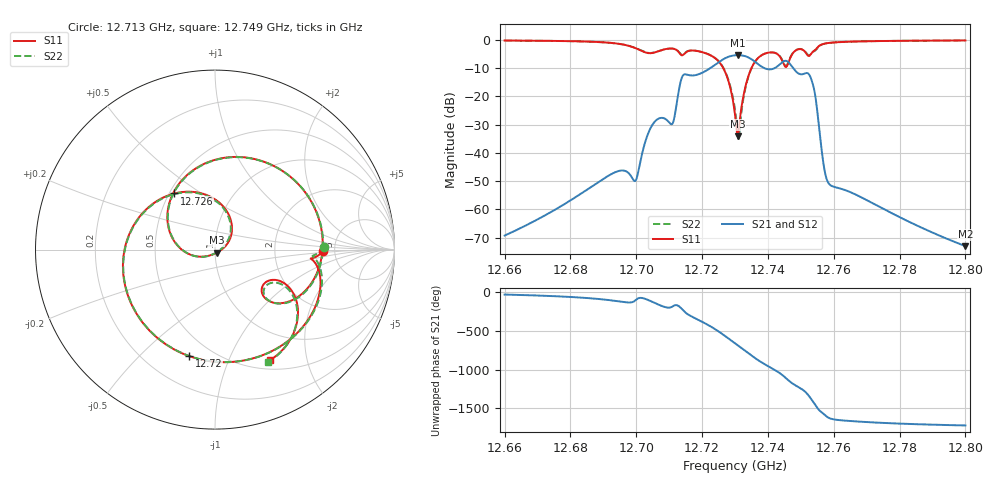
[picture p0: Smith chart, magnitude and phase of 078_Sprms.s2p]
! TOUCHSTONE file generated by CST MICROWAVE STUDIO
! Date and time: Wed Jul 31 14:39:19 2024
! Project name: WaveGuide_BPF-Ver4.1_U-shape_Ku_T3_C4_CWA_2.cst
! Parameters = {cavity_h=16; cavity_l0=10; cavity_l1=15.2072; cavity_l2=16.8576; cavity_l3=17.1275; cavity_l4=17.2482; cavity_l5=17.1105; cavity_l6=17.5938; cavity_r=2.5; cavity_screw_l=0.5; cavity_screw_r=1.5; cavity_w=8; iris_h00=0; iris_h01=8.8179; iris_h112=0; iris_h12=5.6127; iris_h211=3.6566; 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
! Header version: 2018
! Port assignment regex: !\s*Touchstone port\s*([0-9]+)\s*=\s*(CST MWS port|CST DS port)\s*([0-9]+|Zmin|Zmax)\s*\(\"(.*)\"\)(\s*mode\s*([0-9]+))?.*
! Touchstone port assignment:
! Touchstone port 1 = CST MWS port 1 ("")
! Touchstone port 2 = CST MWS port 2 ("")
# GHz S RI R 50
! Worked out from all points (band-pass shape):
!   5001 points, 12.66 GHz to 12.8 GHz, reference 50 ohm
!   highest |S21| = -5.38 dB at 12.731 GHz (marker M1); lowest = -73.0 dB at 12.8 GHz (marker M2)
!   |S21| within 3 dB of the highest: 12.72444 GHz to 12.73681 GHz (12.37 MHz wide, 0.0972 % of centre); 12.74385 GHz to 12.74664 GHz (2.79 MHz wide, 0.0219 % of centre)
!   lowest |S11| = -34.1 dB at 12.731 GHz (marker M3), VSWR 1.04, Z = 50.9 - j1.76 ohm
!   |S11| at or under -10 dB: 12.72646 GHz to 12.73498 GHz (8.518 MHz wide, 0.0669 % of centre)
!   |S22| runs from -35.1 to -0.2 dB; largest |S21 - S12| = 1e-09
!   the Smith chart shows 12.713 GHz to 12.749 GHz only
!   S11 on the Smith chart (normalised r, x): 12.713 GHz: 4.04, -0.09; 12.72 GHz: 0.38, -0.72; 12.726 GHz: 0.53, +0.39; 12.749 GHz: 0.61, -1.43
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12.66  0.3726 0.905  0.000306 -0.000154  0.000306 -0.000154  0.3751 0.904
12.68335  0.8211 0.4672  0.000759 -0.00177  0.000759 -0.00177  0.8231 0.4634
12.69388  0.8385 -0.2299  -0.0016 -0.00433  -0.0016 -0.00433  0.8362 -0.2365
12.6999  0.123 -0.7025  -0.000341 -0.00328  -0.000341 -0.00328  0.1164 -0.7047
12.70368  -0.5688 -0.1417  -0.00332 -0.0224  -0.00332 -0.0224  -0.5728 -0.1461
12.70668  -0.2633 0.5745  -0.0369 -0.0161  -0.0369 -0.0161  -0.2789 0.5705
12.7109  0.5899 0.3855  -0.0324 0.00256  -0.0324 0.00256  0.5783 0.4062
12.71298  0.6031 -0.007  -0.1318 -0.00283  -0.1318 -0.00283  0.6097 0.0153
12.71998  -0.1432 -0.5937  0.2475 -0.0856  0.2475 -0.0856  -0.1239 -0.5994
12.72552  -0.2268 0.3126  -0.3958 -0.1454  -0.3958 -0.1454  -0.2442 0.3042
12.73  0.0472 0.00833  0.2647 0.4656  0.2647 0.4656  0.054 0.0235
12.73081  0.00951 -0.0173  0.443 0.3061  0.443 0.3061  0.0209 -0.00714
12.7309  0.00553 -0.0193  0.4567 0.2852  0.4567 0.2852  0.0173 -0.00973
12.73386  -0.209 0.0229  0.2296 -0.4415  0.2296 -0.4415  -0.2034 0.0184
12.73638  -0.169 0.4025  -0.3036 -0.2583  -0.3036 -0.2583  -0.1664 0.4017
12.74092  0.5827 0.1571  -0.0723 0.2938  -0.0723 0.2938  0.5853 0.1544
12.74473  0.2769 -0.2682  0.4169 -0.0207  0.4169 -0.0207  0.2877 -0.2738
12.7494  0.3056 -0.6168  -0.2192 -0.1271  -0.2192 -0.1271  0.2978 -0.6255
12.75335  0.1052 -0.5844  0.1287 0.1371  0.1287 0.1371  0.0752 -0.5915
12.75842  -0.3191 -0.827  -0.00291 0.000189  -0.00291 0.000189  -0.3239 -0.8245
12.77668  -0.9446 -0.1877  -0.000242 0.000881  -0.000242 0.000881  -0.9456 -0.1834
12.8  -0.9376 0.2915  5.49e-05 0.000216  5.49e-05 0.000216  -0.9367 0.2948
